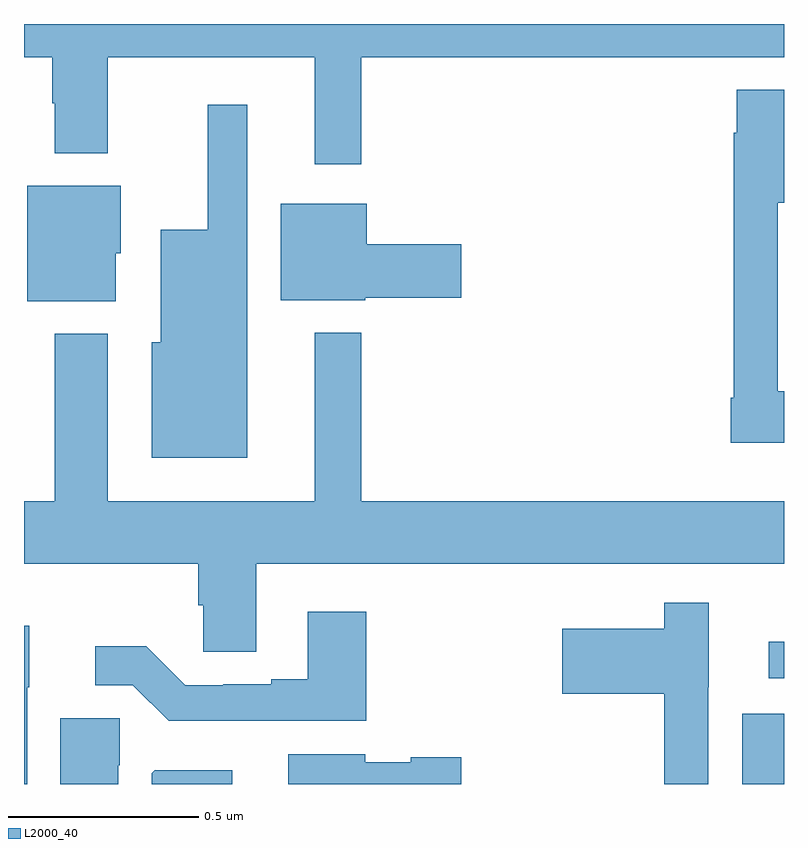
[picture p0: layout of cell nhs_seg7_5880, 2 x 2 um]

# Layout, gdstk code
import gdstk
lib = gdstk.Library(unit=1e-6, precision=1e-09)
def R(c, l, rs):  # rectangles x0, y0, x1, y1
    for r in rs: c.add(gdstk.rectangle(r[:2], r[2:], *l))
def P(c, l, *ps):  # polygons
    for p in ps: c.add(gdstk.Polygon(p, *l))
L2000_40 = (2000, 40)

nhs_seg7_5880 = lib.new_cell('nhs_seg7_5880')
R(nhs_seg7_5880, L2000_40, [(192.89,1036,193,1036.185), (192.96,1036.278,193,1036.375)])
P(nhs_seg7_5880, L2000_40, [(191.887,1037.912),(193,1037.912),(193,1038),(191,1038),(191,1037.912),(191.074,1037.912),(191.074,1037.792),(191.081,1037.792),(191.081,1037.66),(191.221,1037.66),(191.221,1037.912),(191.765,1037.912),(191.765,1037.631),(191.887,1037.631)],
  [(193,1037.033),(192.984,1037.033),(192.984,1037.529),(193,1037.529),(193,1037.827),(192.875,1037.827),(192.875,1037.714),(192.868,1037.714),(192.868,1037.016),(192.86,1037.016),(192.86,1036.898),(193,1036.898)],
  [(191.587,1037.788),(191.483,1037.788),(191.483,1037.458),(191.36,1037.458),(191.36,1037.163),(191.336,1037.163),(191.336,1036.859),(191.587,1036.859)],
  [(191.242,1037.397),(191.254,1037.397),(191.254,1037.575),(191.009,1037.575),(191.009,1037.27),(191.242,1037.27)],
  [(191.898,1037.279),(192.151,1037.279),(192.151,1037.421),(191.902,1037.421),(191.902,1037.527),(191.675,1037.527),(191.675,1037.273),(191.898,1037.273)],
  [(191.611,1036.58),(193,1036.58),(193,1036.744),(191.887,1036.744),(191.887,1037.188),(191.765,1037.188),(191.765,1036.744),(191.221,1036.744),(191.221,1037.185),(191.081,1037.185),(191.081,1036.744),(191,1036.744),(191,1036.58),(191.459,1036.58),(191.459,1036.47),(191.472,1036.47),(191.472,1036.348),(191.611,1036.348)],
  [(192.801,1036.254),(192.802,1036.254),(192.802,1036.477),(192.685,1036.477),(192.685,1036.408),(192.417,1036.408),(192.417,1036.238),(192.685,1036.238),(192.685,1036),(192.801,1036)],
  [(191.9,1036.453),(191.747,1036.453),(191.747,1036.276),(191.651,1036.276),(191.651,1036.263),(191.524,1036.263),(191.524,1036.26),(191.424,1036.26),(191.322,1036.363),(191.187,1036.363),(191.187,1036.26),(191.286,1036.26),(191.381,1036.166),(191.9,1036.166)],
  [(191.008,1036.254),(191.014,1036.254),(191.014,1036.417),(191,1036.417),(191,1036),(191.008,1036)],
  [(191.248,1036.05),(191.252,1036.05),(191.252,1036.173),(191.096,1036.173),(191.096,1036),(191.248,1036)],
  [(192.151,1036.07),(192.018,1036.07),(192.018,1036.057),(191.898,1036.057),(191.898,1036.078),(191.696,1036.078),(191.696,1036),(192.151,1036)],
  [(191.548,1036.036),(191.344,1036.036),(191.336,1036.028),(191.336,1036),(191.548,1036)])

lib.write_gds('nhs_seg7_5880.gds')
